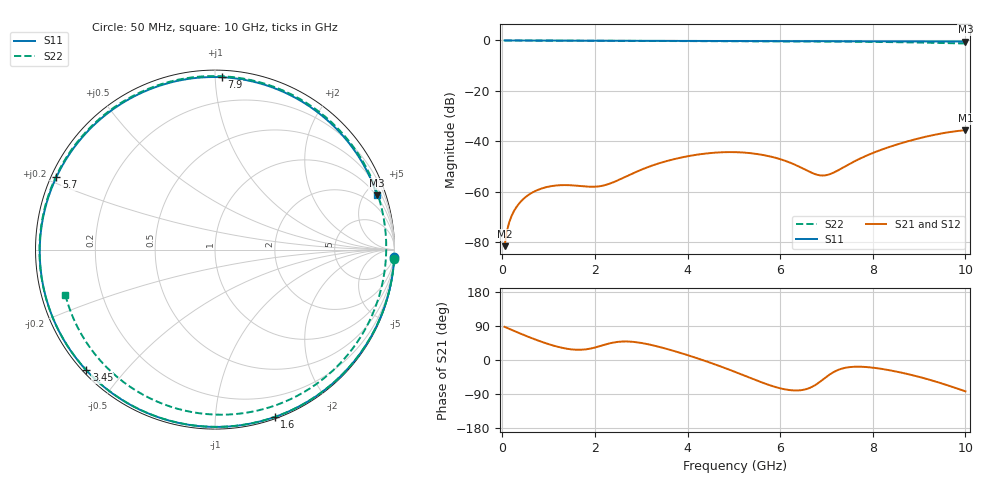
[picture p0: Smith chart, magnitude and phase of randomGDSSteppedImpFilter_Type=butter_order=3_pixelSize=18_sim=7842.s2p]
! freq	dB(S11)	phase(S11)	dB(S12)	phase(S12)
!  dB(S21)	phase(S21)	dB(S22)	phase(S22)
!S-par simulation data
#  GHz  S  DB  R 50
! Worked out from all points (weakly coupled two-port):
!   200 points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, 50 MHz to 10 GHz, reference 50 ohm
!   highest |S21| = -35.53 dB at 10 GHz (marker M1); lowest = -81.5 dB at 50 MHz (marker M2)
!   lowest |S11| = -0.4 dB at 10 GHz (marker M3), VSWR 40.26, Z = 46.6 + j299 ohm
!   |S11| at or under -10 dB: nowhere
!   |S22| runs from -1.2 to 0.0 dB; largest |S21 - S12| = 0
!   S11 on the Smith chart (normalised r, x): 50 MHz: 0, -49; 1.6 GHz: 0.01, -1.42; 3.45 GHz: 0.01, -0.40; 5.7 GHz: 0.02, +0.22; 7.9 GHz: 0.04, +1.04; 10 GHz: 0.93, +5.97
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0.05  -0.00 -2.3  -81.47 87.4  -81.47 87.4  -0.00 -3.0
0.2  -0.01 -9.2  -69.52 79.5  -69.52 79.5  -0.02 -12.0
0.5  -0.03 -22.9  -62.07 64.3  -62.07 64.3  -0.04 -29.6
1.05  -0.06 -47.3  -57.71 39.9  -57.71 39.9  -0.08 -61.3
1.6  -0.08 -70.3  -57.50 27.0  -57.50 27.0  -0.11 -91.3
1.75  -0.09 -76.3  -57.75 27.4  -57.75 27.4  -0.12 -99.2
2.15  -0.11 -91.8  -57.59 38.2  -57.59 38.2  -0.14 -119.8
2.6  -0.12 -108.2  -54.49 48.8  -54.49 48.8  -0.16 -142.1
3.4  -0.15 -135.2  -48.56 34.2  -48.56 34.2  -0.19 179.2
3.45  -0.15 -136.8  -48.29 32.6  -48.29 32.6  -0.20 176.8
4.2  -0.18 -160.1  -45.25 5.0  -45.25 5.0  -0.23 140.4
5.05  -0.22 174.6  -44.24 -32.5  -44.24 -32.5  -0.28 97.5
5.7  -0.25 155.4  -45.61 -63.4  -45.61 -63.4  -0.32 63.4
6.25  -0.28 139.1  -48.66 -80.0  -48.66 -80.0  -0.36 34.3
6.7  -0.30 125.5  -52.54 -70.2  -52.54 -70.2  -0.39 10.5
7.05  -0.31 114.7  -53.09 -40.0  -53.09 -40.0  -0.42 -7.7
7.9  -0.34 87.7  -45.34 -19.0  -45.34 -19.0  -0.55 -50.6
8.35  -0.36 73.0  -42.22 -26.7  -42.22 -26.7  -0.64 -72.9
8.75  -0.39 59.8  -39.97 -36.9  -39.97 -36.9  -0.75 -92.9
9.15  -0.41 46.4  -38.09 -49.5  -38.09 -49.5  -0.87 -113.7
9.55  -0.41 33.2  -36.61 -64.2  -36.61 -64.2  -1.02 -135.7
10  -0.43 18.6  -35.53 -82.7  -35.53 -82.7  -1.19 -163.1
